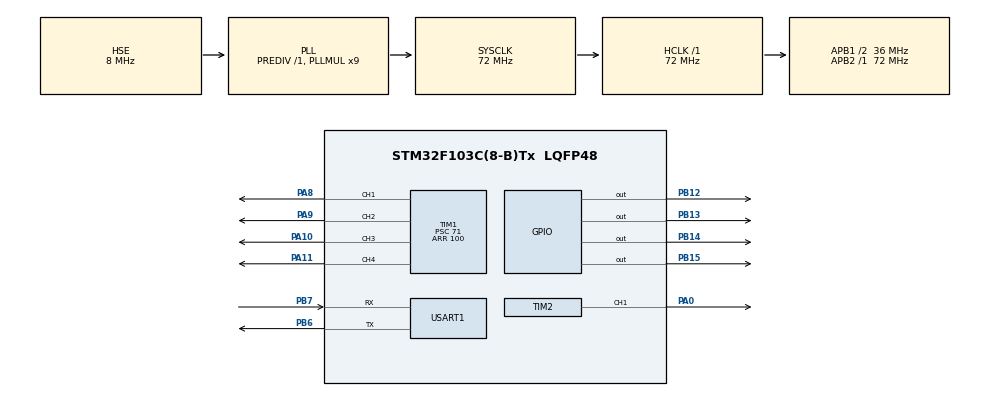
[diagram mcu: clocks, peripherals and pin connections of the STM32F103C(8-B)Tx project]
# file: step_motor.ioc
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Mcu.Family=STM32F1
Mcu.Name=STM32F103C(8-B)Tx
Mcu.Package=LQFP48
NVIC.PriorityGroup=NVIC_PRIORITYGROUP_4
NVIC.TIM2_IRQn=true\:0\:0\:false\:false\:true\:true\:true
NVIC.TIM3_IRQn=true\:0\:0\:false\:false\:true\:true\:true
NVIC.TIM4_IRQn=true\:0\:0\:false\:false\:true\:true\:true
NVIC.USART1_IRQn=true\:0\:0\:false\:false\:true\:true\:true
PA0-WKUP.Signal=S_TIM2_CH1_ETR
PA10.Signal=S_TIM1_CH3
PA11.Signal=S_TIM1_CH4
PA8.Signal=S_TIM1_CH1
PA9.Signal=S_TIM1_CH2
PB12.GPIO_PuPd=GPIO_PULLDOWN
PB12.Signal=GPIO_Output
PB13.GPIO_PuPd=GPIO_PULLDOWN
PB13.Signal=GPIO_Output
PB14.GPIO_PuPd=GPIO_PULLDOWN
PB14.Signal=GPIO_Output
PB15.GPIO_PuPd=GPIO_PULLDOWN
PB15.Signal=GPIO_Output
PB6.Mode=Asynchronous
PB6.Signal=USART1_TX
PB7.Mode=Asynchronous
PB7.Signal=USART1_RX
PD0-OSC_IN.Mode=HSE-External-Oscillator
PD0-OSC_IN.Signal=RCC_OSC_IN
PD1-OSC_OUT.Mode=HSE-External-Oscillator
PD1-OSC_OUT.Signal=RCC_OSC_OUT
ProjectManager.HeapSize=0x200
ProjectManager.StackSize=0x400
ProjectManager.TargetToolchain=MDK-ARM V5.32
RCC.AHBFreq_Value=72000000
RCC.APB1CLKDivider=RCC_HCLK_DIV2
RCC.APB1Freq_Value=36000000
RCC.APB1TimFreq_Value=72000000
RCC.APB2Freq_Value=72000000
RCC.APB2TimFreq_Value=72000000
RCC.HCLKFreq_Value=72000000
RCC.PLLMUL=RCC_PLL_MUL9
RCC.PLLSourceVirtual=RCC_PLLSOURCE_HSE
RCC.SYSCLKFreq_VALUE=72000000
RCC.SYSCLKSource=RCC_SYSCLKSOURCE_PLLCLK
RCC.USBFreq_Value=72000000
SH.S_TIM1_CH1.0=TIM1_CH1,PWM Generation1 CH1
SH.S_TIM1_CH2.0=TIM1_CH2,PWM Generation2 CH2
SH.S_TIM1_CH3.0=TIM1_CH3,PWM Generation3 CH3
SH.S_TIM1_CH4.0=TIM1_CH4,PWM Generation4 CH4
SH.S_TIM2_CH1_ETR.0=TIM2_CH1,PWM Generation1 CH1
TIM1.Channel-PWM\ Generation1\ CH1=TIM_CHANNEL_1
TIM1.Channel-PWM\ Generation2\ CH2=TIM_CHANNEL_2
TIM1.Channel-PWM\ Generation3\ CH3=TIM_CHANNEL_3
TIM1.Channel-PWM\ Generation4\ CH4=TIM_CHANNEL_4
TIM1.Period=100
TIM1.Prescaler=71
TIM2.AutoReloadPreload=TIM_AUTORELOAD_PRELOAD_DISABLE
TIM2.Channel-PWM\ Generation1\ CH1=TIM_CHANNEL_1
USART1.VirtualMode=VM_ASYNC
VP_SYS_VS_ND.Mode=No_Debug
VP_TIM2_VS_ClockSourceINT.Mode=Internal
VP_TIM3_VS_ClockSourceINT.Mode=Internal
VP_TIM4_VS_ClockSourceINT.Mode=Internal
board=custom

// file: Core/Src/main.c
/* USER CODE BEGIN Header */
/**
  ******************************************************************************
  * @file           : main.c
  * @brief          : Main program body
  ******************************************************************************
  * @attention
  *
  * <h2><center>&copy; Copyright (c) 2024 STMicroelectronics.
  * All rights reserved.</center></h2>
  *
  * This software component is licensed by ST under BSD 3-Clause license,
  * the "License"; You may not use this file except in compliance with the
  * License. You may obtain a copy of the License at:
  *                        opensource.org/licenses/BSD-3-Clause
  *
  ******************************************************************************
  */
/* USER CODE END Header */
#include "main.h"

/* USER CODE BEGIN Includes */
#include <math.h>
#include <stdio.h>
#include <stdlib.h>
#include <string.h>
#include "step_motor.h"
#include "my_uart.h"
#include "servo.h"
/* USER CODE END Includes */

TIM_HandleTypeDef htim1;
TIM_HandleTypeDef htim2;
TIM_HandleTypeDef htim3;
TIM_HandleTypeDef htim4;

UART_HandleTypeDef huart1;

void SystemClock_Config(void);
static void MX_GPIO_Init(void);
static void MX_USART1_UART_Init(void);
static void MX_TIM3_Init(void);
static void MX_TIM2_Init(void);
static void MX_TIM1_Init(void);
static void MX_TIM4_Init(void);

/* USER CODE BEGIN 0 */

#define RX_BUFFER_SIZE  64
__IO uint8_t cmd[RX_BUFFER_SIZE];
__IO uint8_t write_index = 0;
__IO uint8_t cmd_ready = 0;
char param_str[10][10];

void Command_ReceiveData(uint8_t data)
{
	if(write_index >= RX_BUFFER_SIZE)
	{
		write_index = 0;
	}
	cmd[write_index] = data;
	write_index++;
	if(data == '\n')
	{
		cmd_ready = 1;
	}
}

void Command_clear(void)
{
	for(int i=0; i<RX_BUFFER_SIZE; i++)
	{
		cmd[i] = 0;
	}
	write_index = 0;
}

void Params_clear(void)
{
	for(int i=0; i<10; i++)
	{
		for(int k=0; k<10; k++)
		{
			param_str[i][k] = 0;
		}
	}
}

void extrac_param(void)
{
	Params_clear();
	uint8_t idx_s = 0;
	uint8_t n = 0;
	for(int i=0; i<write_index;i++)
	{
		if(cmd[i] == ' ' || cmd[i] == '\n')
		{
			idx_s = i;
			n++;
		}
		param_str[n][i - idx_s] = cmd[i];
	}
}

void Command_read(void)
{
	if(cmd_ready == 1)
	{
		extrac_param();
		if(cmd[0] == 'M')
		{
			float x = atof(param_str[1]);
			float y = atof(param_str[2]);
			stepmotor_move_xy(x,y);
			HAL_UART_Transmit(&huart1, (uint8_t*)"DONE\n", 5, 10);
		}
		if(cmd[0] == 'P')
		{
			int p = atof(param_str[1]);
			if(p == 0)
			{
				servo_pen_release();
			}
			else
			{
				servo_pen_press();
			}
		}
		if(cmd[0] == 'S')
		{
			float speed = atof(param_str[1]);
			step_interval = 1000000.0*(MICRO_STEP_PITCH)/speed;
		}
		if(cmd[0] == 'R')
		{
			float x = atof(param_str[1]);
			float y = atof(param_str[2]);
			float w = atof(param_str[3]);
			float h = atof(param_str[4]);
			stepmotor_move_xy(x,y);
			servo_pen_press();
			stepmotor_move_xy(x+w,y);
			stepmotor_move_xy(x+w,y+h);
			stepmotor_move_xy(x,y+h);
			stepmotor_move_xy(x,y);
			servo_pen_release();
			stepmotor_move_xy(0,0);
		}
		if(cmd[0] == 'C')
		{
			float x0 = atof(param_str[1]);
			float y0 = atof(param_str[2]);
			float r = atof(param_str[3]);
			float n = atof(param_str[4]);
			float div = 360/n;

			float x = x0+r*cos(0);
			float y = y0+r*sin(0);
			float a = 0;
			servo_pen_release();
			stepmotor_move_xy(x,y);
			servo_pen_press();
			for(int i=0; i<n; i++)
			{
				a+=div;
				x = x0+r*cos(PI*a/180.0);
				y = y0+r*sin(PI*a/180.0);
				stepmotor_move_xy(x,y);
			}
			servo_pen_release();
			stepmotor_move_xy(0,0);
		}
		HAL_UART_Transmit(&huart1, (uint8_t*)"DONE\n", 5, 10);
		Command_clear();
		cmd_ready = 0;
	}
}

void UART_ReceiveFunctionCallBack(uint8_t data)
{
	Command_ReceiveData(data);
}

/* USER CODE END 0 */

int main(void)
{

  /* MCU Configuration--------------------------------------------------------*/

  /* Reset of all peripherals, Initializes the Flash interface and the Systick. */
  HAL_Init();

  /* Configure the system clock */
  SystemClock_Config();

  /* Initialize all configured peripherals */
  MX_GPIO_Init();
  MX_USART1_UART_Init();
  MX_TIM3_Init();
  MX_TIM2_Init();
  MX_TIM1_Init();
  MX_TIM4_Init();
  /* USER CODE BEGIN 2 */
	HAL_Delay(100);
	UART_Init();
  /* USER CODE END 2 */

  /* Infinite loop */
  /* USER CODE BEGIN WHILE */
	printf("CNC Mini Starting..\n");
	servo_init();
	stepmotor_init();
  while (1)
  {
		Command_read();
    /* USER CODE END WHILE */

  }
}

void SystemClock_Config(void)
{
  RCC_OscInitTypeDef RCC_OscInitStruct = {0};
  RCC_ClkInitTypeDef RCC_ClkInitStruct = {0};

  /** Initializes the RCC Oscillators according to the specified parameters
  * in the RCC_OscInitTypeDef structure.
  */
  RCC_OscInitStruct.OscillatorType = RCC_OSCILLATORTYPE_HSE;
  RCC_OscInitStruct.HSEState = RCC_HSE_ON;
  RCC_OscInitStruct.HSEPredivValue = RCC_HSE_PREDIV_DIV1;
  RCC_OscInitStruct.HSIState = RCC_HSI_ON;
  RCC_OscInitStruct.PLL.PLLState = RCC_PLL_ON;
  RCC_OscInitStruct.PLL.PLLSource = RCC_PLLSOURCE_HSE;
  RCC_OscInitStruct.PLL.PLLMUL = RCC_PLL_MUL9;
  if (HAL_RCC_OscConfig(&RCC_OscInitStruct) != HAL_OK)
  {
    Error_Handler();
  }
  /** Initializes the CPU, AHB and APB buses clocks
  */
  RCC_ClkInitStruct.ClockType = RCC_CLOCKTYPE_HCLK|RCC_CLOCKTYPE_SYSCLK
                              |RCC_CLOCKTYPE_PCLK1|RCC_CLOCKTYPE_PCLK2;
  RCC_ClkInitStruct.SYSCLKSource = RCC_SYSCLKSOURCE_PLLCLK;
  RCC_ClkInitStruct.AHBCLKDivider = RCC_SYSCLK_DIV1;
  RCC_ClkInitStruct.APB1CLKDivider = RCC_HCLK_DIV2;
  RCC_ClkInitStruct.APB2CLKDivider = RCC_HCLK_DIV1;

  if (HAL_RCC_ClockConfig(&RCC_ClkInitStruct, FLASH_LATENCY_2) != HAL_OK)
  {
    Error_Handler();
  }
}

static void MX_TIM1_Init(void)
{

  TIM_MasterConfigTypeDef sMasterConfig = {0};
  TIM_OC_InitTypeDef sConfigOC = {0};
  TIM_BreakDeadTimeConfigTypeDef sBreakDeadTimeConfig = {0};

  htim1.Instance = TIM1;
  htim1.Init.Prescaler = 71;
  htim1.Init.CounterMode = TIM_COUNTERMODE_UP;
  htim1.Init.Period = 100;
  htim1.Init.ClockDivision = TIM_CLOCKDIVISION_DIV1;
  htim1.Init.RepetitionCounter = 0;
  htim1.Init.AutoReloadPreload = TIM_AUTORELOAD_PRELOAD_DISABLE;
  if (HAL_TIM_PWM_Init(&htim1) != HAL_OK)
  {
    Error_Handler();
  }
  sMasterConfig.MasterOutputTrigger = TIM_TRGO_RESET;
  sMasterConfig.MasterSlaveMode = TIM_MASTERSLAVEMODE_DISABLE;
  if (HAL_TIMEx_MasterConfigSynchronization(&htim1, &sMasterConfig) != HAL_OK)
  {
    Error_Handler();
  }
  sConfigOC.OCMode = TIM_OCMODE_PWM1;
  sConfigOC.Pulse = 0;
  sConfigOC.OCPolarity = TIM_OCPOLARITY_HIGH;
  sConfigOC.OCNPolarity = TIM_OCNPOLARITY_HIGH;
  sConfigOC.OCFastMode = TIM_OCFAST_DISABLE;
  sConfigOC.OCIdleState = TIM_OCIDLESTATE_RESET;
  sConfigOC.OCNIdleState = TIM_OCNIDLESTATE_RESET;
  if (HAL_TIM_PWM_ConfigChannel(&htim1, &sConfigOC, TIM_CHANNEL_1) != HAL_OK)
  {
    Error_Handler();
  }
  if (HAL_TIM_PWM_ConfigChannel(&htim1, &sConfigOC, TIM_CHANNEL_2) != HAL_OK)
  {
    Error_Handler();
  }
  if (HAL_TIM_PWM_ConfigChannel(&htim1, &sConfigOC, TIM_CHANNEL_3) != HAL_OK)
  {
    Error_Handler();
  }
  if (HAL_TIM_PWM_ConfigChannel(&htim1, &sConfigOC, TIM_CHANNEL_4) != HAL_OK)
  {
    Error_Handler();
  }
  sBreakDeadTimeConfig.OffStateRunMode = TIM_OSSR_DISABLE;
  sBreakDeadTimeConfig.OffStateIDLEMode = TIM_OSSI_DISABLE;
  sBreakDeadTimeConfig.LockLevel = TIM_LOCKLEVEL_OFF;
  sBreakDeadTimeConfig.DeadTime = 0;
  sBreakDeadTimeConfig.BreakState = TIM_BREAK_DISABLE;
  sBreakDeadTimeConfig.BreakPolarity = TIM_BREAKPOLARITY_HIGH;
  sBreakDeadTimeConfig.AutomaticOutput = TIM_AUTOMATICOUTPUT_DISABLE;
  if (HAL_TIMEx_ConfigBreakDeadTime(&htim1, &sBreakDeadTimeConfig) != HAL_OK)
  {
    Error_Handler();
  }
  HAL_TIM_MspPostInit(&htim1);

}

static void MX_TIM2_Init(void)
{

  TIM_ClockConfigTypeDef sClockSourceConfig = {0};
  TIM_MasterConfigTypeDef sMasterConfig = {0};
  TIM_OC_InitTypeDef sConfigOC = {0};

  htim2.Instance = TIM2;
  htim2.Init.Prescaler = 0;
  htim2.Init.CounterMode = TIM_COUNTERMODE_UP;
  htim2.Init.Period = 65535;
  htim2.Init.ClockDivision = TIM_CLOCKDIVISION_DIV1;
  htim2.Init.AutoReloadPreload = TIM_AUTORELOAD_PRELOAD_DISABLE;
  if (HAL_TIM_Base_Init(&htim2) != HAL_OK)
  {
    Error_Handler();
  }
  sClockSourceConfig.ClockSource = TIM_CLOCKSOURCE_INTERNAL;
  if (HAL_TIM_ConfigClockSource(&htim2, &sClockSourceConfig) != HAL_OK)
  {
    Error_Handler();
  }
  if (HAL_TIM_PWM_Init(&htim2) != HAL_OK)
  {
    Error_Handler();
  }
  sMasterConfig.MasterOutputTrigger = TIM_TRGO_RESET;
  sMasterConfig.MasterSlaveMode = TIM_MASTERSLAVEMODE_DISABLE;
  if (HAL_TIMEx_MasterConfigSynchronization(&htim2, &sMasterConfig) != HAL_OK)
  {
    Error_Handler();
  }
  sConfigOC.OCMode = TIM_OCMODE_PWM1;
  sConfigOC.Pulse = 0;
  sConfigOC.OCPolarity = TIM_OCPOLARITY_HIGH;
  sConfigOC.OCFastMode = TIM_OCFAST_DISABLE;
  if (HAL_TIM_PWM_ConfigChannel(&htim2, &sConfigOC, TIM_CHANNEL_1) != HAL_OK)
  {
    Error_Handler();
  }
  HAL_TIM_MspPostInit(&htim2);

}

static void MX_TIM3_Init(void)
{

  TIM_ClockConfigTypeDef sClockSourceConfig = {0};
  TIM_MasterConfigTypeDef sMasterConfig = {0};

  htim3.Instance = TIM3;
  htim3.Init.Prescaler = 0;
  htim3.Init.CounterMode = TIM_COUNTERMODE_UP;
  htim3.Init.Period = 65535;
  htim3.Init.ClockDivision = TIM_CLOCKDIVISION_DIV1;
  htim3.Init.AutoReloadPreload = TIM_AUTORELOAD_PRELOAD_DISABLE;
  if (HAL_TIM_Base_Init(&htim3) != HAL_OK)
  {
    Error_Handler();
  }
  sClockSourceConfig.ClockSource = TIM_CLOCKSOURCE_INTERNAL;
  if (HAL_TIM_ConfigClockSource(&htim3, &sClockSourceConfig) != HAL_OK)
  {
    Error_Handler();
  }
  sMasterConfig.MasterOutputTrigger = TIM_TRGO_RESET;
  sMasterConfig.MasterSlaveMode = TIM_MASTERSLAVEMODE_DISABLE;
  if (HAL_TIMEx_MasterConfigSynchronization(&htim3, &sMasterConfig) != HAL_OK)
  {
    Error_Handler();
  }

}

static void MX_TIM4_Init(void)
{

  TIM_ClockConfigTypeDef sClockSourceConfig = {0};
  TIM_MasterConfigTypeDef sMasterConfig = {0};

  htim4.Instance = TIM4;
  htim4.Init.Prescaler = 0;
  htim4.Init.CounterMode = TIM_COUNTERMODE_UP;
  htim4.Init.Period = 65535;
  htim4.Init.ClockDivision = TIM_CLOCKDIVISION_DIV1;
  htim4.Init.AutoReloadPreload = TIM_AUTORELOAD_PRELOAD_DISABLE;
  if (HAL_TIM_Base_Init(&htim4) != HAL_OK)
  {
    Error_Handler();
  }
  sClockSourceConfig.ClockSource = TIM_CLOCKSOURCE_INTERNAL;
  if (HAL_TIM_ConfigClockSource(&htim4, &sClockSourceConfig) != HAL_OK)
  {
    Error_Handler();
  }
  sMasterConfig.MasterOutputTrigger = TIM_TRGO_RESET;
  sMasterConfig.MasterSlaveMode = TIM_MASTERSLAVEMODE_DISABLE;
  if (HAL_TIMEx_MasterConfigSynchronization(&htim4, &sMasterConfig) != HAL_OK)
  {
    Error_Handler();
  }

}

static void MX_USART1_UART_Init(void)
{

  huart1.Instance = USART1;
  huart1.Init.BaudRate = 230400;
  huart1.Init.WordLength = UART_WORDLENGTH_8B;
  huart1.Init.StopBits = UART_STOPBITS_1;
  huart1.Init.Parity = UART_PARITY_NONE;
  huart1.Init.Mode = UART_MODE_TX_RX;
  huart1.Init.HwFlowCtl = UART_HWCONTROL_NONE;
  huart1.Init.OverSampling = UART_OVERSAMPLING_16;
  if (HAL_UART_Init(&huart1) != HAL_OK)
  {
    Error_Handler();
  }

}

static void MX_GPIO_Init(void)
{
  GPIO_InitTypeDef GPIO_InitStruct = {0};

  /* GPIO Ports Clock Enable */
  __HAL_RCC_GPIOD_CLK_ENABLE();
  __HAL_RCC_GPIOA_CLK_ENABLE();
  __HAL_RCC_GPIOB_CLK_ENABLE();

  /*Configure GPIO pin Output Level */
  HAL_GPIO_WritePin(GPIOB, GPIO_PIN_12|GPIO_PIN_13|GPIO_PIN_14|GPIO_PIN_15, GPIO_PIN_RESET);

  /*Configure GPIO pins : PB12 PB13 PB14 PB15 */
  GPIO_InitStruct.Pin = GPIO_PIN_12|GPIO_PIN_13|GPIO_PIN_14|GPIO_PIN_15;
  GPIO_InitStruct.Mode = GPIO_MODE_OUTPUT_PP;
  GPIO_InitStruct.Pull = GPIO_PULLDOWN;
  GPIO_InitStruct.Speed = GPIO_SPEED_FREQ_LOW;
  HAL_GPIO_Init(GPIOB, &GPIO_InitStruct);

}

void Error_Handler(void)
{
  __disable_irq();
  while (1)
  {
  }
}

/************************ (C) COPYRIGHT STMicroelectronics *****END OF FILE****/
